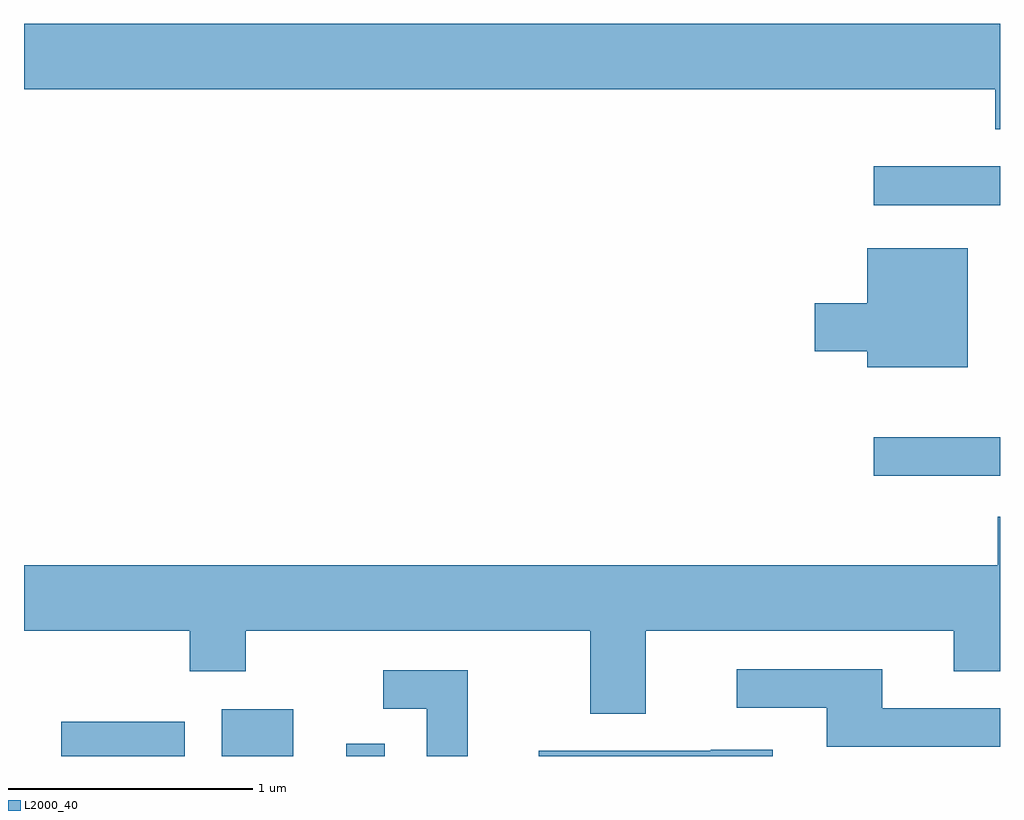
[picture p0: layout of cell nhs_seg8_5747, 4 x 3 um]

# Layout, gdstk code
import gdstk
lib = gdstk.Library(unit=1e-6, precision=1e-09)
def R(c, l, rs):  # rectangles x0, y0, x1, y1
    for r in rs: c.add(gdstk.rectangle(r[:2], r[2:], *l))
def P(c, l, *ps):  # polygons
    for p in ps: c.add(gdstk.Polygon(p, *l))
L2000_40 = (2000, 40)

nhs_seg8_5747 = lib.new_cell('nhs_seg8_5747')
R(nhs_seg8_5747, L2000_40, [(357.763,1840.342,358.269,1840.484), (358.421,1840.342,358.714,1840.534), (358.931,1840.342,359.089,1840.393), (361.093,1841.491,361.611,1841.649), (361.093,1842.601,361.611,1842.759)])
P(nhs_seg8_5747, L2000_40, [(361.611,1843.344),(357.611,1843.344),(357.611,1843.076),(361.591,1843.076),(361.591,1842.911),(361.611,1842.911)],
  [(361.479,1842.424),(361.066,1842.424),(361.066,1842.199),(360.851,1842.199),(360.851,1842.001),(361.066,1842.001),(361.066,1841.936),(361.479,1841.936)],
  [(360.159,1840.856),(361.421,1840.856),(361.421,1840.691),(361.611,1840.691),(361.611,1841.324),(361.601,1841.324),(361.601,1841.124),(357.611,1841.124),(357.611,1840.856),(358.291,1840.856),(358.291,1840.691),(358.519,1840.691),(358.519,1840.856),(359.931,1840.856),(359.931,1840.516),(360.159,1840.516)],
  [(361.611,1840.539),(361.129,1840.539),(361.129,1840.699),(360.533,1840.699),(360.533,1840.541),(360.901,1840.541),(360.901,1840.381),(361.611,1840.381)],
  [(359.429,1840.694),(359.083,1840.694),(359.083,1840.536),(359.261,1840.536),(359.261,1840.342),(359.429,1840.342)],
  [(360.679,1840.369),(360.425,1840.369),(360.425,1840.364),(359.721,1840.364),(359.721,1840.342),(360.679,1840.342)])

lib.write_gds('nhs_seg8_5747.gds')
